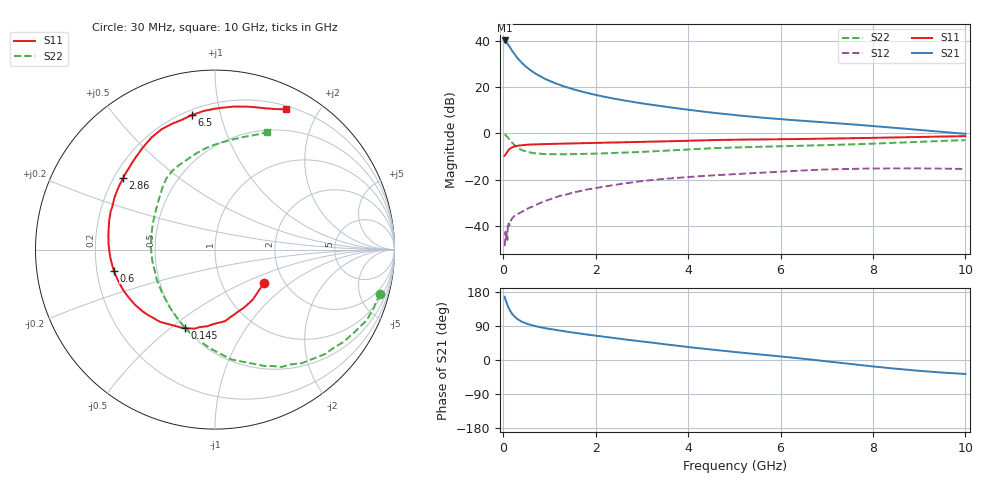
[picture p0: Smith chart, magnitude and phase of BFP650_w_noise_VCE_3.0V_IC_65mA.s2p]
! Infineon Technologies  Discrete & RF Semiconductors
! BFP650
! VCE =  3.0 V,  IC =  65 mA
! Common Emitter S-Parameters:  Jan 2016
# GHz  S  MA  R  50
!  f  S11  S21  S12  S22
! GHz  MAG  ANG  MAG  ANG  MAG  ANG  MAG  ANG
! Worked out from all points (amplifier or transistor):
!   229 points, 30 MHz to 10 GHz, reference 50 ohm
!   highest |S21| = 40.3 dB at 30 MHz (marker M1)
!   |S21| within 3 dB of that: start of sweep to 145.8 MHz
!   unconditionally stable (mu >= 1): 1.597 GHz to end of sweep
!   at 280 MHz: K = 0.54, MSG = 34.4 dB, |S12| = -35.3 dB
!   at 1.78 GHz: K = 1.01, MAG = 20.6 dB, |S12| = -24.5 dB
!   at 10 GHz: K = 1.03, MAG = 6.5 dB, |S12| = -15.4 dB
!   lowest NFmin = 1.11 dB at 450 MHz
!   S11 on the Smith chart (normalised r, x): 30 MHz: 1.58, -0.66; 145 MHz: 0.50, -0.56; 600 MHz: 0.27, -0.09; 2.86 GHz: 0.24, +0.33; 6.5 GHz: 0.23, +0.81; 10 GHz: 0.24, +1.61
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0.03  0.33 -34.3  103.9 167.2  0.0036 76.6  0.9507 -15.0
0.04  0.3377 -45.7  102.9 162.9  0.0046 62.8  0.9418 -20.3
0.05  0.3498 -53.3  99.99 158.8  0.0074 92.8  0.9325 -24.9
0.06  0.3602 -62.7  98.65 155.4  0.0051 78.8  0.9038 -30.4
0.08  0.3883 -78.0  92.95 148.2  0.0067 61.6  0.8583 -39.6
0.11  0.4289 -95.7  84.04 139.1  0.0096 57.8  0.7967 -52.6
0.145  0.4681 -110.9  73.8 130.7  0.0116 61.6  0.7153 -65.1
0.2  0.5057 -127.2  60.61 120.4  0.0148 55.9  0.619 -81.5
0.24  0.5217 -135.8  53.15 115.1  0.0162 53.9  0.5623 -90.5
0.3  0.5411 -145.2  44.17 108.6  0.0176 56.8  0.5023 -102.7
0.4  0.558 -155.7  34.1 101.2  0.0199 53.5  0.44 -117.8
0.6  0.5763 -168.3  23.06 92.2  0.0252 57.7  0.3838 -138.9
0.8  0.5859 -176.4  17.29 86.3  0.0311 58.2  0.3642 -153.4
1  0.5933 177.6  13.81 81.9  0.0369 57.4  0.3554 -163.9
1.7  0.6147 162.0  8.091 69.2  0.0575 54.7  0.3602 172.3
2.86  0.6484 142.2  4.728 51.0  0.0888 43.2  0.3933 147.3
3.4  0.6678 133.9  3.933 43.1  0.1017 37.4  0.4181 138.6
5.1  0.7349 112.8  2.455 20.1  0.133 20.1  0.5008 117.6
6.5  0.76 99.9  1.88 3.1  0.1585 6.4  0.5438 101.6
6.8  0.7682 96.8  1.79 -0.7  0.1628 3.0  0.5532 99.0
8.4  0.816 77.4  1.342 -21.9  0.1752 -14.6  0.6219 80.8
10  0.8766 63.0  0.985 -36.8  0.1702 -27.3  0.7162 66.1
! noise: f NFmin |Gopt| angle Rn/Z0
0.45  1.11  0.47  -171  0.06
0.9  1.13  0.48  -166  0.06
1.9  1.27  0.5  -151  0.07
2.4  1.35  0.48  -142  0.09
3.5  1.56  0.5  -118  0.16
